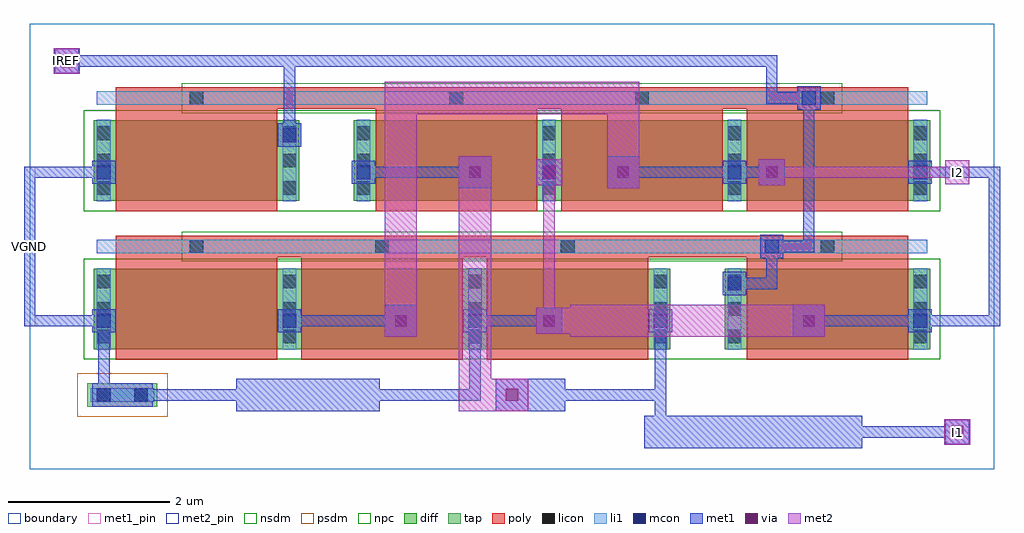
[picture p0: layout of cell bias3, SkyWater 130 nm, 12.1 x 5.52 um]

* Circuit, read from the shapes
.subckt bias3 I1 I2 IREF VGND
XM1 I2 IREF VGND VGND sky130_fd_pr__nfet_01v8 w=1 l=2 m=4
XM2 IREF IREF VGND VGND sky130_fd_pr__nfet_01v8 w=1 l=2 m=2
XM3 VGND IREF I1 VGND sky130_fd_pr__nfet_01v8 w=1 l=2 m=2
.ends

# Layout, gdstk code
import gdstk
lib = gdstk.Library(unit=1e-6, precision=1e-09)
def R(c, l, rs):  # rectangles x0, y0, x1, y1
    for r in rs: c.add(gdstk.rectangle(r[:2], r[2:], *l))
def A(c, l, x, y, w, h, nx, ny, dx, dy):  # array of equal rectangles
    R(c, l, [(x+i*dx, y+j*dy, x+i*dx+w, y+j*dy+h) for i in range(nx) for j in range(ny)])
diff = (65, 20)
tap = (65, 44)
poly = (66, 20)
licon = (66, 44)
li1 = (67, 20)
mcon = (67, 44)
met1_pin = (68, 16)
met1 = (68, 20)
via = (68, 44)
met2_pin = (69, 16)
met2 = (69, 20)
nsdm = (93, 44)
psdm = (94, 20)
npc = (95, 20)
boundary = (235, 4)

bias3 = lib.new_cell('bias3')
R(bias3, diff, [(0.795,1.485,7.945,2.485), (8.615,1.485,11.165,2.485), (0.795,3.325,3.345,4.325), (4.015,3.325,11.165,4.325)])
R(bias3, tap, [(0.715,0.775,1.585,1.065)])
A(bias3, poly, 1.07, 1.355, 2, 1.405, 3, 1, 2.3, 0)
A(bias3, poly, 4.29, 3.195, 2, 1.405, 3, 1, 2.3, 0)
R(bias3, poly, [(8.89,1.355,10.89,2.76), (1.07,2.625,10.89,2.895), (1.07,3.195,3.07,4.6), (1.07,4.465,10.89,4.735)])
A(bias3, licon, 0.835, 1.56, 0.17, 0.17, 4, 3, 2.3, 0.34)
A(bias3, licon, 8.655, 1.56, 0.17, 0.17, 1, 3, 0, 0.34)
A(bias3, licon, 10.955, 1.56, 0.17, 0.17, 1, 3, 0, 0.34)
A(bias3, licon, 1.985, 2.675, 0.17, 0.17, 3, 1, 2.3, 0)
A(bias3, licon, 0.835, 3.4, 0.17, 0.17, 1, 3, 0, 0.34)
A(bias3, licon, 3.135, 3.4, 0.17, 0.17, 1, 3, 0, 0.34)
A(bias3, licon, 4.055, 3.4, 0.17, 0.17, 4, 3, 2.3, 0.34)
A(bias3, licon, 5.205, 4.515, 0.17, 0.17, 3, 1, 2.3, 0)
R(bias3, licon, [(0.835,0.835,1.005,1.005), (1.295,0.835,1.465,1.005), (9.805,2.675,9.975,2.845), (1.985,4.515,2.155,4.685)])
A(bias3, li1, 0.835, 1.48, 0.17, 1.01, 4, 1, 2.3, 0)
A(bias3, li1, 4.055, 3.32, 0.17, 1.01, 4, 1, 2.3, 0)
R(bias3, li1, [(0.755,0.835,1.545,1.005), (8.655,1.48,8.825,2.49), (10.955,1.48,11.125,2.49), (0.835,2.675,11.125,2.845), (0.835,3.32,1.005,4.33), (3.135,3.32,3.305,4.33), (0.835,4.515,11.125,4.685)])
A(bias3, mcon, 0.835, 1.755, 0.17, 0.17, 4, 1, 2.3, 0)
A(bias3, mcon, 4.055, 3.595, 0.17, 0.17, 4, 1, 2.3, 0)
R(bias3, mcon, [(0.835,0.835,1.005,1.005), (1.295,0.835,1.465,1.005), (10.955,1.755,11.125,1.925), (8.655,2.215,8.825,2.385), (9.115,2.675,9.285,2.845), (0.835,3.595,1.005,3.765), (3.135,4.055,3.305,4.225), (9.575,4.515,9.745,4.685)])
R(bias3, met1_pin, [(-0.07,1.77,0.07,3.75)])
A(bias3, met1, 0.775, 1.695, 0.29, 0.29, 4, 1, 2.3, 0)
A(bias3, met1, -0.07, 1.77, 1.06, 0.14, 3, 1, 5.52, 0)
A(bias3, met1, 3.995, 3.535, 0.29, 0.29, 4, 1, 2.3, 0)
R(bias3, met1, [(7.62,0.26,10.32,0.66), (11.34,0.3,11.66,0.62), (7.75,0.39,7.89,1.91), (10.05,0.39,11.57,0.53), (2.56,0.72,4.34,1.12), (5.78,0.72,6.18,1.12), (5.78,0.72,6.64,1.12), (0.775,0.775,1.525,1.065), (0.85,0.85,0.99,1.91), (0.85,0.85,0.99,0.99), (0.85,0.85,2.83,0.99), (4.07,0.85,5.59,0.99), (5.45,0.85,5.59,1.91), (6.37,0.85,7.89,0.99), (4.4,1.64,4.8,2.04), (9.46,1.64,9.86,2.04), (6.28,1.68,6.6,2), (10.895,1.695,11.185,1.985), (-0.07,1.77,0.07,3.75), (3.15,1.77,4.67,1.91), (9.59,1.77,11.11,1.91), (11.89,1.77,12.03,3.75), (8.595,2.155,8.885,2.445), (8.67,2.23,9.27,2.37), (9.13,2.23,9.27,2.83), (9.055,2.615,9.345,2.905), (9.13,2.69,9.73,2.83), (9.59,2.69,9.73,4.67), (5.32,3.48,5.72,3.88), (7.16,3.48,7.56,3.88), (6.28,3.52,6.6,3.84), (9.04,3.52,9.36,3.84), (0.775,3.535,1.065,3.825), (-0.07,3.61,0.99,3.75), (4.07,3.61,5.59,3.75), (7.29,3.61,8.81,3.75), (8.67,3.61,9.27,3.75), (10.97,3.61,12.03,3.75), (3.075,3.995,3.365,4.285), (3.15,4.07,3.29,5.13), (9.515,4.455,9.805,4.745), (9.13,4.53,9.73,4.67), (9.13,4.53,9.27,5.13), (0.3,4.9,0.62,5.22), (0.39,4.99,3.29,5.13), (3.15,4.99,9.27,5.13)])
A(bias3, via, 5.445, 3.605, 0.15, 0.15, 3, 1, 0.92, 0)
R(bias3, via, [(11.425,0.385,11.575,0.535), (5.905,0.845,6.055,0.995), (4.525,1.765,4.675,1.915), (6.365,1.765,6.515,1.915), (9.585,1.765,9.735,1.915), (9.125,3.605,9.275,3.755), (0.385,4.985,0.535,5.135)])
R(bias3, met2_pin, [(11.35,0.31,11.65,0.61), (11.35,3.53,11.65,3.83), (0.31,4.91,0.61,5.21)])
R(bias3, met2, [(11.34,0.3,11.66,0.62), (11.35,0.31,11.65,0.61), (11.43,0.39,11.57,0.53), (5.32,0.72,6.18,1.12), (5.32,0.72,5.72,3.88), (5.78,0.72,6.18,1.12), (4.4,1.64,4.8,2.04), (4.4,1.64,4.8,4.8), (6.7,1.64,9.86,2.04), (9.46,1.64,9.86,2.04), (6.28,1.68,6.6,2), (6.6,1.68,6.7,2), (6.37,1.77,6.51,3.75), (6.37,1.77,6.97,1.91), (5.32,3.48,5.72,3.88), (7.16,3.48,7.56,3.88), (7.16,3.48,7.56,4.8), (6.28,3.52,6.6,3.84), (9.04,3.52,9.36,3.84), (11.35,3.53,11.65,3.83), (9.13,3.61,11.57,3.75), (11.43,3.61,11.57,3.75), (4.4,4.4,7.56,4.8), (0.3,4.9,0.62,5.22), (0.31,4.91,0.61,5.21), (0.39,4.99,0.53,5.13)])
R(bias3, nsdm, [(0.67,1.36,11.29,2.61), (0.67,3.2,11.29,4.45)])
R(bias3, psdm, [(0.59,0.65,1.71,1.19)])
R(bias3, npc, [(1.885,2.575,10.075,2.945), (1.885,4.415,10.075,4.785)])
R(bias3, boundary, [(0,0,11.96,5.52)])
bias3.add(gdstk.Label('VGND', (0,2.76), layer=68, texttype=5))
bias3.add(gdstk.Label('IREF', (0.46,5.06), layer=69, texttype=5))
bias3.add(gdstk.Label('I1', (11.5,0.46), layer=69, texttype=5))
bias3.add(gdstk.Label('I2', (11.5,3.68), layer=69, texttype=5))
bias3.add(gdstk.Label('VGND', (0,2.76), layer=68, texttype=16))
bias3.add(gdstk.Label('IREF', (0.46,5.06), layer=69, texttype=16))
bias3.add(gdstk.Label('I1', (11.5,0.46), layer=69, texttype=16))
bias3.add(gdstk.Label('I2', (11.5,3.68), layer=69, texttype=16))

lib.write_gds('bias3.gds')
